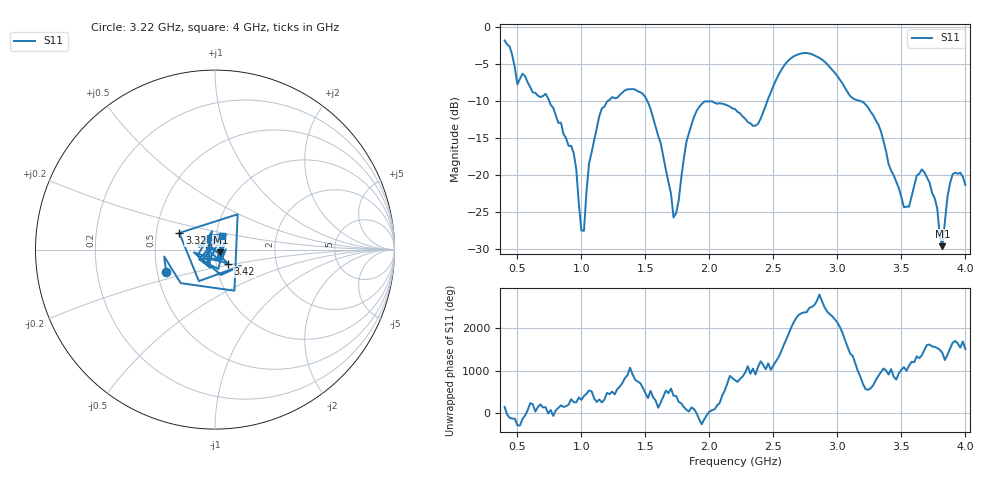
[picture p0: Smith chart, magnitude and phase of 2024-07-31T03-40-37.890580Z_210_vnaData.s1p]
!Created with skrf (http://scikit-rf.org).
# Hz S RI R 50.0
!freq ReS11 ImS11
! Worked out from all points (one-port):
!   181 points, 400 MHz to 4 GHz, reference 50 ohm
!   lowest |S11| = -29.6 dB at 3.82 GHz (marker M1), VSWR 1.07, Z = 53.1 - j1.55 ohm
!   |S11| at or under -10 dB: 748.1 MHz to 1.207 GHz (459 MHz wide, 47 % of centre); 1.515 GHz to 2.453 GHz (938 MHz wide, 47.3 % of centre); 3.175 GHz to end of sweep
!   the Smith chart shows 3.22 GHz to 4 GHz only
!   S11 on the Smith chart (normalised r, x): 3.22 GHz: 0.56, -0.15; 3.32 GHz: 0.66, +0.13; 3.42 GHz: 1.14, -0.18; 4 GHz: 1.07, +0.17
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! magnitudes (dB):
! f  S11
! 400 MHz  -1.9
! 500 MHz  -7.8
! 720 MHz  -9.0
! 860 MHz  -14.5
! 940 MHz  -17.0
! 1.02 GHz  -27.5
! 1.06 GHz  -18.4
! 1.14 GHz  -12.0
! 1.3 GHz  -9.2
! 1.5 GHz  -9.5
! 1.62 GHz  -15.7
! 1.72 GHz  -25.7
! 1.76 GHz  -23.4
! 1.82 GHz  -15.6
! 1.9 GHz  -11.3
! 2.2 GHz  -11.1
! 2.38 GHz  -13.1
! 2.66 GHz  -4.0
! 3.1 GHz  -9.3
! 3.22 GHz  -10.5
! 3.32 GHz  -13.2
! 3.42 GHz  -19.4
! 3.56 GHz  -24.2
! 3.66 GHz  -19.2
! 3.76 GHz  -23.1
! 3.82 GHz  -29.6
! 3.9 GHz  -19.9
! 4 GHz  -21.3
